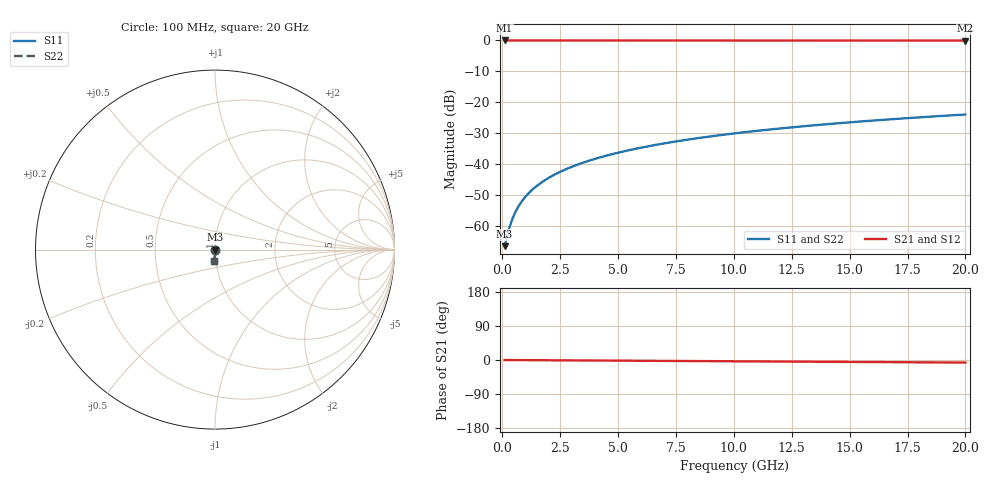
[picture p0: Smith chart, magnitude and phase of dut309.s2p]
! Touchstone file exported from HFSS 2026.1.0
!  File:  C:/ffzhzh/LocalFiles/Ansys_Project_Files/temp_train_TSV_309_1783018082_51716.aedt
!  Generated:  02:49:55 AM Jul  3, 2026
!  Design:  TSV
!  Project:  temp_train_TSV_309_1783018082_51716
! Variables:
!  h_bsmrdl = 2um
!  h_ox = 20um
!  h_rdl = 5um
!  h_sub = 61.61um
!  h_tmrdl = 5um
!  h_tsv = 61.61um
!  h_via = 3um
!  l_bsmrdl = 300um
!  l_sub = 408.94um
!  l_tmrdl = 200um
!  m_sub = 200um
!  pitch = 11.35um
!  r_tsv = 4.47um
!  s_tmrdl = 10um
!  w_bsmrdl = 18um
!  w_sub = 500um
!  w_tmrdl = 12um
!  x_tsv_center1 = 206um
!  x_tsv_center2 = 524um
!  x_tsv_center3 = 736um
!  x_tsv_center4 = 1054um
!  x_tsv_center5 = 1266um
!  x_tsv_center6 = 1584um
# GHz S MA R 50.000000
! Terminal data exported
! Port[1] = TSV1_1_T1
! Port[2] = TSV1_1_T2
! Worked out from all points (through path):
!   200 points, 100 MHz to 20 GHz, reference 50 ohm
!   highest |S21| = 0.00 dB at 100 MHz (marker M1); lowest = 0.0 dB at 20 GHz (marker M2)
!   lowest |S11| = -66.6 dB at 100 MHz (marker M3), VSWR 1.00, Z = 50 - j0.0243 ohm
!   |S11| at or under -10 dB: start of sweep to end of sweep
!   |S22| runs from -66.6 to -24.0 dB; largest |S21 - S12| = 3e-15
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0.1  0.0004665 -31.4  0.9996 -0.0  0.9996 -0.0  0.0004665 -31.4
! Gamma 0 0 0 0
! Port Impedance 50 0 50 0
0.2  0.0006628 -49.4  0.9996 -0.1  0.9996 -0.1  0.0006628 -49.4
0.3  0.0009123 -59.1  0.9995 -0.1  0.9995 -0.1  0.0009123 -59.1
0.4  0.001186 -65.1  0.9995 -0.1  0.9995 -0.1  0.001186 -65.1
0.5  0.001472 -69.2  0.9995 -0.2  0.9995 -0.2  0.001472 -69.2
0.6  0.001763 -72.1  0.9994 -0.2  0.9994 -0.2  0.001763 -72.1
0.8  0.002353 -76.0  0.9994 -0.3  0.9994 -0.3  0.002353 -76.0
1.1  0.003245 -79.4  0.9994 -0.4  0.9994 -0.4  0.003245 -79.4
1.5  0.00444 -81.9  0.9993 -0.5  0.9993 -0.5  0.00444 -81.9
1.8  0.005341 -83.1  0.9993 -0.6  0.9993 -0.6  0.005341 -83.1
2.1  0.006246 -83.9  0.9992 -0.7  0.9992 -0.7  0.006246 -83.9
2.7  0.008069 -85.0  0.9991 -0.9  0.9991 -0.9  0.008069 -85.0
3.5  0.01053 -86.0  0.999 -1.2  0.999 -1.2  0.01053 -86.0
4.2  0.01271 -86.6  0.9988 -1.5  0.9988 -1.5  0.01271 -86.6
5  0.01522 -87.2  0.9987 -1.7  0.9987 -1.7  0.01522 -87.2
5.9  0.01806 -87.8  0.9985 -2.0  0.9985 -2.0  0.01806 -87.8
6.8  0.02093 -88.3  0.9983 -2.3  0.9983 -2.3  0.02093 -88.3
8.3  0.02572 -89.2  0.998 -2.8  0.998 -2.8  0.02572 -89.2
10.1  0.03149 -90.1  0.9977 -3.4  0.9977 -3.4  0.03149 -90.1
13.4  0.04208 -91.7  0.997 -4.6  0.997 -4.6  0.04208 -91.7
16.7  0.05266 -93.1  0.9962 -5.7  0.9962 -5.7  0.05266 -93.1
20  0.06323 -94.4  0.9953 -6.8  0.9953 -6.8  0.06323 -94.4
